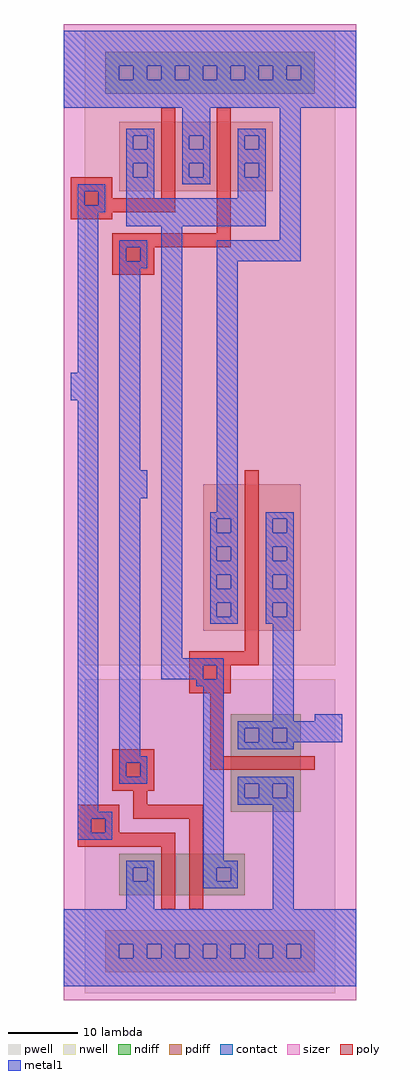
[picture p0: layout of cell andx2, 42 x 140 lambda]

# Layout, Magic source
magic
tech concept
<< sizer >>
rect 0 0 42 140
<< metal1 >>
rect 0 134 42 139
rect 0 132 8 134
rect 10 132 12 134
rect 14 132 16 134
rect 18 132 20 134
rect 22 132 24 134
rect 26 132 28 134
rect 30 132 32 134
rect 34 132 42 134
rect 0 128 42 132
rect 17 124 21 128
rect 31 109 34 128
rect 9 124 13 125
rect 25 124 29 125
rect 9 122 10 124
rect 12 122 13 124
rect 17 122 18 124
rect 20 122 21 124
rect 25 122 26 124
rect 28 122 29 124
rect 9 120 13 122
rect 17 120 21 122
rect 25 120 29 122
rect 9 118 10 120
rect 12 118 13 120
rect 17 118 18 120
rect 20 118 21 120
rect 25 118 26 120
rect 28 118 29 120
rect 9 115 13 118
rect 17 117 21 118
rect 25 115 29 118
rect 2 116 6 117
rect 2 114 3 116
rect 5 114 6 116
rect 9 111 29 115
rect 2 113 6 114
rect 2 90 5 113
rect 14 49 17 111
rect 8 108 12 109
rect 22 106 34 109
rect 8 106 9 108
rect 11 106 12 108
rect 8 105 12 106
rect 22 70 25 106
rect 8 76 11 105
rect 1 86 5 90
rect 2 27 5 86
rect 8 72 12 76
rect 8 35 11 72
rect 21 69 25 70
rect 29 69 33 70
rect 21 67 22 69
rect 24 67 25 69
rect 29 67 30 69
rect 32 67 33 69
rect 21 65 25 67
rect 29 65 33 67
rect 21 63 22 65
rect 24 63 25 65
rect 29 63 30 65
rect 32 63 33 65
rect 21 61 25 63
rect 29 61 33 63
rect 21 59 22 61
rect 24 59 25 61
rect 29 59 30 61
rect 32 59 33 61
rect 21 57 25 59
rect 29 57 33 59
rect 21 55 22 57
rect 24 55 25 57
rect 29 55 30 57
rect 32 55 33 57
rect 21 54 25 55
rect 29 54 33 55
rect 30 40 33 54
rect 14 48 23 49
rect 14 46 20 48
rect 22 46 23 48
rect 19 45 23 46
rect 20 20 23 45
rect 36 40 40 41
rect 25 39 40 40
rect 25 37 26 39
rect 28 37 30 39
rect 32 37 40 39
rect 25 36 33 37
rect 8 34 12 35
rect 8 32 9 34
rect 11 32 12 34
rect 8 31 12 32
rect 25 31 33 32
rect 25 29 26 31
rect 28 29 30 31
rect 32 29 33 31
rect 25 28 33 29
rect 30 13 33 28
rect 2 26 7 27
rect 2 24 4 26
rect 6 24 7 26
rect 2 23 7 24
rect 9 19 13 20
rect 20 19 25 20
rect 9 17 10 19
rect 12 17 13 19
rect 20 17 22 19
rect 24 17 25 19
rect 9 13 13 17
rect 20 16 25 17
rect 0 8 42 13
rect 0 6 8 8
rect 10 6 12 8
rect 14 6 16 8
rect 18 6 20 8
rect 22 6 24 8
rect 26 6 28 8
rect 30 6 32 8
rect 34 6 42 8
rect 0 2 42 6
<< contact >>
rect 8 132 10 134
rect 12 132 14 134
rect 16 132 18 134
rect 20 132 22 134
rect 24 132 26 134
rect 28 132 30 134
rect 32 132 34 134
rect 10 122 12 124
rect 18 122 20 124
rect 26 122 28 124
rect 10 118 12 120
rect 18 118 20 120
rect 26 118 28 120
rect 3 114 5 116
rect 9 106 11 108
rect 22 67 24 69
rect 30 67 32 69
rect 22 63 24 65
rect 30 63 32 65
rect 22 59 24 61
rect 30 59 32 61
rect 22 55 24 57
rect 30 55 32 57
rect 20 46 22 48
rect 26 37 28 39
rect 30 37 32 39
rect 9 32 11 34
rect 26 29 28 31
rect 30 29 32 31
rect 4 24 6 26
rect 10 17 12 19
rect 22 17 24 19
rect 8 6 10 8
rect 12 6 14 8
rect 16 6 18 8
rect 20 6 22 8
rect 24 6 26 8
rect 28 6 30 8
rect 32 6 34 8
<< poly >>
rect 14 115 16 128
rect 22 110 24 128
rect 1 115 7 118
rect 1 113 16 115
rect 1 112 7 113
rect 7 108 24 110
rect 7 104 13 108
rect 26 50 28 76
rect 18 48 28 50
rect 18 44 24 48
rect 21 35 23 44
rect 7 30 13 36
rect 21 33 36 35
rect 10 28 12 30
rect 2 24 8 28
rect 10 26 20 28
rect 18 13 20 26
rect 2 22 16 24
rect 14 13 16 22
<< ndiff >>
rect 6 130 36 136
rect 24 27 34 41
rect 8 15 26 21
<< pdiff >>
rect 8 116 30 126
rect 20 53 34 74
rect 6 4 36 10
<< nwell >>
rect 3 48 39 139
<< pwell >>
rect 3 1 39 46
<< end >>
